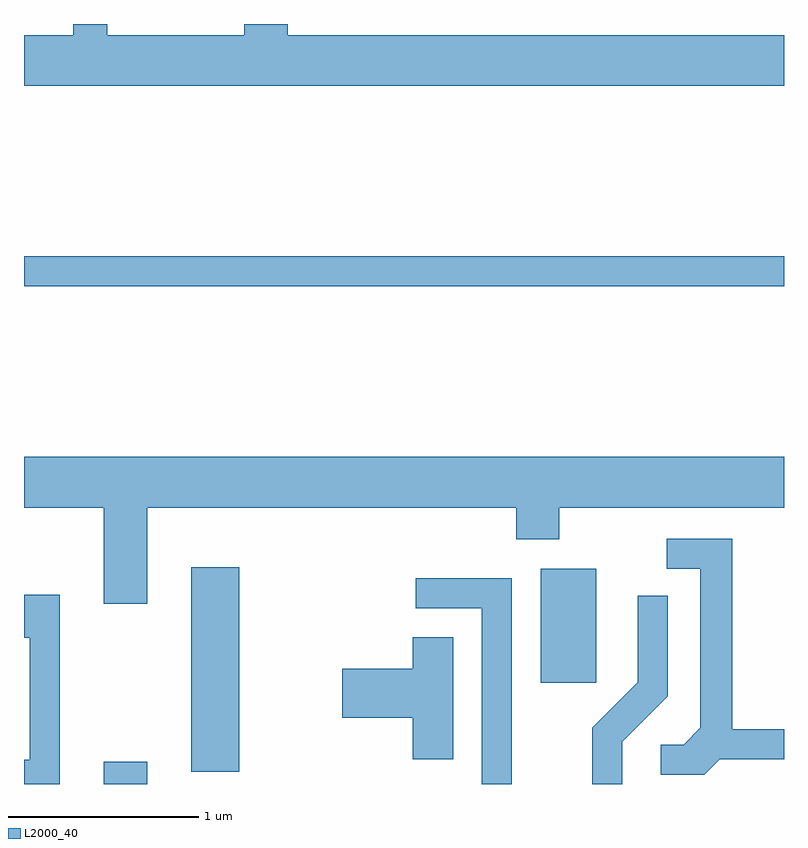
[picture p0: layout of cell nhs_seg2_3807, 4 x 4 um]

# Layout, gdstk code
import gdstk
lib = gdstk.Library(unit=1e-6, precision=1e-09)
def R(c, l, rs):  # rectangles x0, y0, x1, y1
    for r in rs: c.add(gdstk.rectangle(r[:2], r[2:], *l))
def P(c, l, *ps):  # polygons
    for p in ps: c.add(gdstk.Polygon(p, *l))
L2000_40 = (2000, 40)

nhs_seg2_3807 = lib.new_cell('nhs_seg2_3807')
R(nhs_seg2_3807, L2000_40, [(298.031,995.802,298.259,995.919), (298.491,995.866,298.744,996.944), (300.331,996.336,300.624,996.934), (297.611,998.421,301.611,998.579)])
P(nhs_seg2_3807, L2000_40, [(301.611,999.744),(298.999,999.744),(298.999,999.802),(298.771,999.802),(298.771,999.744),(298.049,999.744),(298.049,999.802),(297.871,999.802),(297.871,999.744),(297.611,999.744),(297.611,999.476),(301.611,999.476)],
  [(298.259,997.256),(300.201,997.256),(300.201,997.091),(300.429,997.091),(300.429,997.256),(301.611,997.256),(301.611,997.524),(297.611,997.524),(297.611,997.256),(298.031,997.256),(298.031,996.751),(298.259,996.751)],
  [(301.272,995.931),(301.611,995.931),(301.611,996.089),(301.339,996.089),(301.339,997.094),(300.993,997.094),(300.993,996.936),(301.171,996.936),(301.171,996.097),(301.084,996.009),(300.963,996.009),(300.963,995.851),(301.192,995.851)],
  [(300.179,996.884),(299.673,996.884),(299.673,996.726),(300.021,996.726),(300.021,995.802),(300.179,995.802)],
  [(297.799,996.799),(297.611,996.799),(297.611,996.571),(297.641,996.571),(297.641,995.929),(297.611,995.929),(297.611,995.802),(297.799,995.802)],
  [(300.759,996.024),(300.999,996.264),(300.999,996.793),(300.841,996.793),(300.841,996.337),(300.601,996.097),(300.601,995.802),(300.759,995.802)],
  [(299.869,996.574),(299.656,996.574),(299.656,996.409),(299.286,996.409),(299.286,996.151),(299.656,996.151),(299.656,995.931),(299.869,995.931)])

lib.write_gds('nhs_seg2_3807.gds')
